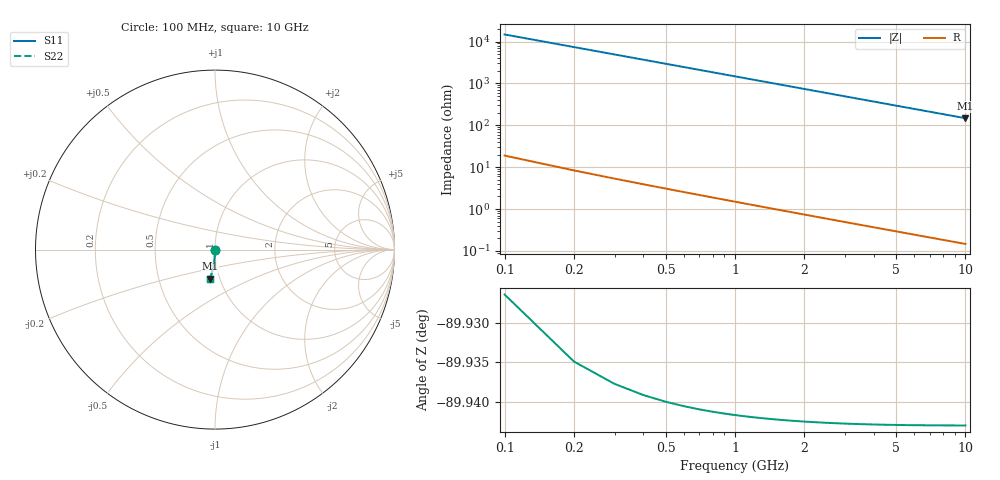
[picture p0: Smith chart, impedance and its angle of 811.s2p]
# Hz S RI R 50.00
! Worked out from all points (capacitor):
!   100 points, 100 MHz to 10 GHz, reference 50 ohm
!   read as one part in shunt: C = 108 fF near 100 MHz
!   lowest |Z| = 148 ohm at 10 GHz (marker M1)
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1e8  -1.74e-06 -0.00168  1 -0.00171  1 -0.00171  -1.74e-06 -0.00168
2e8  -1.2e-05 -0.00335  1 -0.00343  1 -0.00343  -1.2e-05 -0.00335
3e8  -2.81e-05 -0.00503  1 -0.00514  1 -0.00514  -2.81e-05 -0.00503
4e8  -4.99e-05 -0.00671  0.9999 -0.00686  0.9999 -0.00686  -4.99e-05 -0.00671
5e8  -7.74e-05 -0.00839  0.9999 -0.00857  0.9999 -0.00857  -7.74e-05 -0.00839
6e8  -0.000111 -0.0101  0.9999 -0.0103  0.9999 -0.0103  -0.000111 -0.0101
7e8  -0.00015 -0.0117  0.9998 -0.012  0.9998 -0.012  -0.00015 -0.0117
8e8  -0.000195 -0.0134  0.9998 -0.0137  0.9998 -0.0137  -0.000195 -0.0134
9e8  -0.000245 -0.0151  0.9997 -0.0154  0.9997 -0.0154  -0.000245 -0.0151
1.1e9  -0.000363 -0.0184  0.9996 -0.0189  0.9996 -0.0189  -0.000363 -0.0184
1.4e9  -0.000584 -0.0235  0.9994 -0.024  0.9994 -0.024  -0.000584 -0.0235
1.8e9  -0.000958 -0.0302  0.999 -0.0308  0.999 -0.0308  -0.000958 -0.0302
2.1e9  -0.0013 -0.0352  0.9987 -0.036  0.9987 -0.036  -0.0013 -0.0352
2.5e9  -0.00183 -0.0418  0.9982 -0.0428  0.9982 -0.0428  -0.00183 -0.0418
2.9e9  -0.00246 -0.0485  0.9975 -0.0496  0.9975 -0.0496  -0.00246 -0.0485
3.4e9  -0.00336 -0.0568  0.9966 -0.0581  0.9966 -0.0581  -0.00336 -0.0568
4.2e9  -0.00511 -0.07  0.9949 -0.0716  0.9949 -0.0716  -0.00511 -0.07
5.1e9  -0.00749 -0.0848  0.9925 -0.0867  0.9925 -0.0867  -0.00749 -0.0848
5.9e9  -0.00998 -0.0978  0.99 -0.1  0.99 -0.1  -0.00998 -0.0978
6.7e9  -0.0128 -0.1107  0.9872 -0.1132  0.9872 -0.1132  -0.0128 -0.1107
8.4e9  -0.0199 -0.1376  0.9801 -0.1409  0.9801 -0.1409  -0.0199 -0.1376
1e10  -0.0279 -0.1623  0.9721 -0.1662  0.9721 -0.1662  -0.0279 -0.1623
